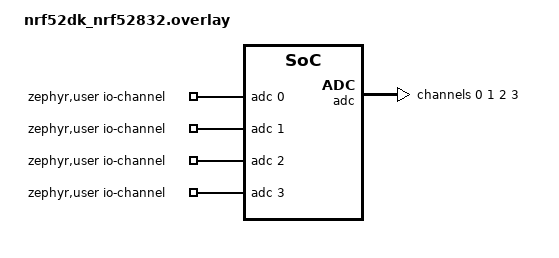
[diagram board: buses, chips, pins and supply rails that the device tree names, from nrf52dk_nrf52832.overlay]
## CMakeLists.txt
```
# SPDX-License-Identifier: Apache-2.0

cmake_minimum_required(VERSION 3.20.0)
find_package(Zephyr REQUIRED HINTS $ENV{ZEPHYR_BASE})
project(ADC_BLE_TEST_FINAL)

target_sources(app PRIVATE
  src/main.c
  src/cts.c
)
```

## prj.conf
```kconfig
# Increased stack due to settings API usage
CONFIG_SYSTEM_WORKQUEUE_STACK_SIZE=2048

CONFIG_BT=y
CONFIG_BT_DEBUG_LOG=y
CONFIG_BT_SMP=y
CONFIG_BT_SIGNING=y
CONFIG_BT_PERIPHERAL=y
CONFIG_BT_DIS=y
CONFIG_BT_ATT_PREPARE_COUNT=5
CONFIG_BT_BAS=n
CONFIG_BT_HRS=n
CONFIG_BT_IAS=y
CONFIG_BT_PRIVACY=n
CONFIG_BT_DEVICE_NAME="Zephyr ADC"
CONFIG_BT_DEVICE_APPEARANCE=833
CONFIG_BT_DEVICE_NAME_DYNAMIC=y
CONFIG_BT_DEVICE_NAME_MAX=65

CONFIG_BT_KEYS_OVERWRITE_OLDEST=y
CONFIG_BT_SETTINGS=y
CONFIG_FLASH=y
CONFIG_FLASH_PAGE_LAYOUT=y
CONFIG_FLASH_MAP=y
CONFIG_NVS=y
CONFIG_SETTINGS=y

# ADC Codes Configuration
CONFIG_ADC=y

# Trying the increase the main stack size
CONFIG_MAIN_STACK_SIZE=2048
```

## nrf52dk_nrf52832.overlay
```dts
/*
 * SPDX-License-Identifier: Apache-2.0
 *
 * Copyright (c) 2022 Nordic Semiconductor ASA
 */


/ {
	zephyr,user {
		io-channels = <&adc 0>, <&adc 1>, <&adc 2>, <&adc 3>;
	};
};

&adc {
	#address-cells = <1>;
	#size-cells = <0>;

	channel@0 {
		reg = <0>;
		zephyr,gain = "ADC_GAIN_1";
		zephyr,reference = "ADC_REF_VDD_1_4";
        zephyr,vref-mv = <5000>;
		zephyr,acquisition-time = <ADC_ACQ_TIME_DEFAULT>;
		zephyr,input-positive = <NRF_SAADC_AIN4>; /* P0.28 */
		zephyr,resolution = <12>;
	};

	channel@1 {
		reg = <1>;
		zephyr,gain = "ADC_GAIN_1";
		zephyr,reference = "ADC_REF_VDD_1_4";
        zephyr,vref-mv = <5000>;
		zephyr,acquisition-time = <ADC_ACQ_TIME_DEFAULT>;
		zephyr,input-positive = <NRF_SAADC_AIN5>; /* P0.29 */
		zephyr,resolution = <12>;
	};

	channel@2 {
		reg = <2>;
		zephyr,gain = "ADC_GAIN_1";
		zephyr,reference = "ADC_REF_VDD_1_4";
        zephyr,vref-mv = <5000>;
		zephyr,acquisition-time = <ADC_ACQ_TIME_DEFAULT>;
		zephyr,input-positive = <NRF_SAADC_AIN6>; /* P0.30 */
		zephyr,resolution = <12>;
	};

	channel@3 {
		reg = <3>;
		zephyr,gain = "ADC_GAIN_1";
		zephyr,reference = "ADC_REF_VDD_1_4";
        zephyr,vref-mv = <5000>;
		zephyr,acquisition-time = <ADC_ACQ_TIME_DEFAULT>;
		zephyr,input-positive = <NRF_SAADC_AIN7>; /* P0.31 */
		zephyr,resolution = <12>;
	};
};
```

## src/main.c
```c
/* main.c - Application main entry point */

/*
 * Copyright (c) 2015-2016 Intel Corporation
 *
 * SPDX-License-Identifier: Apache-2.0
 */

#include <zephyr/types.h>
#include <stddef.h>
#include <string.h>
#include <errno.h>
#include <zephyr/sys/printk.h>
#include <zephyr/sys/byteorder.h>
#include <zephyr/kernel.h>

#include <zephyr/settings/settings.h>

#include <zephyr/bluetooth/bluetooth.h>
#include <zephyr/bluetooth/hci.h>
#include <zephyr/bluetooth/conn.h>
#include <zephyr/bluetooth/uuid.h>
#include <zephyr/bluetooth/gatt.h>
#include <zephyr/bluetooth/services/bas.h>
#include <zephyr/bluetooth/services/hrs.h>
#include <zephyr/bluetooth/services/ias.h>

/* Including additional packages from ADC codes */
#include <inttypes.h>
#include <stdint.h>
#include <zephyr/device.h>
#include <zephyr/devicetree.h>
#include <zephyr/drivers/adc.h>
#include <zephyr/sys/util.h>

/* ADC Initialization Codes */
#if !DT_NODE_EXISTS(DT_PATH(zephyr_user)) || \
	!DT_NODE_HAS_PROP(DT_PATH(zephyr_user), io_channels)
#error "No suitable devicetree overlay specified"
#endif

#define DT_SPEC_AND_COMMA(node_id, prop, idx) \
	ADC_DT_SPEC_GET_BY_IDX(node_id, idx),

/* Data of ADC io-channels specified in devicetree. */
static const struct adc_dt_spec adc_channels[] = {
	DT_FOREACH_PROP_ELEM(DT_PATH(zephyr_user), io_channels,
			     DT_SPEC_AND_COMMA)
};
/* END of ADC Initialization Codes */

/* Change the given UUID to the provided board */
/* Custom Service Variables */
/* From Celia's code, converts the string format to the BT_UUID_128_ENCODE() format */

/* Previously successful version of the characteristic value */
/* Based on the print out of Celia's code */
/* No much difference, will need to modify later */
#define BT_UUID_CUSTOM_SERVICE_VAL \
	BT_UUID_128_ENCODE(0xDE495ED4, 0xC63C, 0xE850, 0x4B9B, 0xAF8F1053D8D6)

static struct bt_uuid_128 vnd_uuid = BT_UUID_INIT_128(
	BT_UUID_CUSTOM_SERVICE_VAL);

/* Use the read characteristic as encrypted characteristic */
static struct bt_uuid_128 vnd_enc_uuid = BT_UUID_INIT_128(
	BT_UUID_128_ENCODE(0x6E400002, 0xB5A3, 0xF393, 0xE0A9, 0xE50E24DCCA9E));

/* Use the write characteristic as authenticated characteristic */
static struct bt_uuid_128 vnd_auth_uuid = BT_UUID_INIT_128(
	BT_UUID_128_ENCODE(0x6E400003, 0xB5A3, 0xF393, 0xE0A9, 0xE50E24DCCA9E));

/* Just a reverse version for the purpose of debugging */
// static struct bt_uuid_128 vnd_auth_uuid = BT_UUID_INIT_128(
// 	BT_UUID_128_ENCODE(0x6E400002, 0xB5A3, 0xF393, 0xE0A9, 0xE50E24DCCA9E));

// static struct bt_uuid_128 vnd_enc_uuid = BT_UUID_INIT_128(
// 	BT_UUID_128_ENCODE(0x6E400003, 0xB5A3, 0xF393, 0xE0A9, 0xE50E24DCCA9E))

#define VND_MAX_LEN 20

/* Is the problem static? */
static uint8_t vnd_value[VND_MAX_LEN + 1] = {"0000 0000 0000 0001"};
static uint8_t vnd_auth_value[VND_MAX_LEN + 1] = {"0000 0000 0000 0002"};

/* The handler of the reading, the buffer contains the data to write, and len contains the length of the data */
static ssize_t read_vnd(struct bt_conn *conn, const struct bt_gatt_attr *attr,
			void *buf, uint16_t len, uint16_t offset)
{
	const char *value = attr->user_data;

	return bt_gatt_attr_read(conn, attr, buf, len, offset, value,
				 strlen(value));
}

/* The handler of the writing, the buffer contains the data to write, and len contains the length of the data */
/* The offset helps handle and align the written data properly within the value */
static ssize_t write_vnd(struct bt_conn *conn, const struct bt_gatt_attr *attr,
			 const void *buf, uint16_t len, uint16_t offset,
			 uint8_t flags)
{
	uint8_t *value = attr->user_data;

	if (offset + len > VND_MAX_LEN) {
		return BT_GATT_ERR(BT_ATT_ERR_INVALID_OFFSET);
	}

	memcpy(value + offset, buf, len);
	value[offset + len] = 0;

	return len;
}

static uint8_t simulate_vnd;


/* Important for paring. Withouth this, struct bleak client cannot connect to the board */
static void vnd_ccc_cfg_changed(const struct bt_gatt_attr *attr, uint16_t value)
{
	simulate_vnd = (value == BT_GATT_CCC_INDICATE) ? 1 : 0;
}

/* Vendor Primary Service Declaration */
BT_GATT_SERVICE_DEFINE(vnd_svc,
	BT_GATT_PRIMARY_SERVICE(&vnd_uuid),
	/* Specify the functionality of the read characteristic */
	/* The last three parameters speicfy the corresponding callback functions for: read, write, and a pointer to the data that the characteristic represents. */
	/* Therefore, for reading characteristic, just use read_vnd, and write just use the write_vnd */
	BT_GATT_CHARACTERISTIC(&vnd_enc_uuid.uuid,
			       BT_GATT_CHRC_WRITE |
			       BT_GATT_CHRC_INDICATE |
				   BT_GATT_CHRC_NOTIFY,
			       BT_GATT_PERM_WRITE |
			       BT_GATT_PERM_WRITE_ENCRYPT,
			       NULL, write_vnd, vnd_value),

	BT_GATT_CCC(vnd_ccc_cfg_changed,
		    BT_GATT_PERM_READ | BT_GATT_PERM_WRITE_ENCRYPT),

	/* Specify the funcionality of the write characteristic */
	/* Do the same as above */
	/* Use the same test message of vnd_value defined as above */
	BT_GATT_CHARACTERISTIC(&vnd_auth_uuid.uuid,
			       BT_GATT_CHRC_READ | 
				   BT_GATT_CHRC_INDICATE |
				   BT_GATT_CHRC_NOTIFY,
			       BT_GATT_PERM_READ_AUTHEN |
			       BT_GATT_PERM_READ,
			       read_vnd, NULL, vnd_value)
);

/* Bluetooth related parameters */
static const struct bt_data ad[] = {
	BT_DATA_BYTES(BT_DATA_FLAGS, (BT_LE_AD_GENERAL | BT_LE_AD_NO_BREDR)),
	BT_DATA_BYTES(BT_DATA_UUID16_ALL,
		      BT_UUID_16_ENCODE(BT_UUID_HRS_VAL),
		      BT_UUID_16_ENCODE(BT_UUID_BAS_VAL),
		      BT_UUID_16_ENCODE(BT_UUID_CTS_VAL)),
	BT_DATA_BYTES(BT_DATA_UUID128_ALL, BT_UUID_CUSTOM_SERVICE_VAL),
};

/* Updated when connected to the bluetooth */
void mtu_updated(struct bt_conn *conn, uint16_t tx, uint16_t rx)
{
	printk("Updated MTU: TX: %d RX: %d bytes\n", tx, rx);
}

/* Registers a set of callback handlers for different GATT events */
static struct bt_gatt_cb gatt_callbacks = {
	/* Called when the ATT MTU is updated during connection */
	.att_mtu_updated = mtu_updated

};

/* Will print to the serial monitor for connection, can be further trimmed down with UART turning off */
static void connected(struct bt_conn *conn, uint8_t err)
{
	if (err) {
		printk("Connection failed (err 0x%02x)\n", err);
	} else {
		printk("Connected\n");
	}
}

/* Same as the connected struct above */
static void disconnected(struct bt_conn *conn, uint8_t reason)
{
	printk("Disconnected (reason 0x%02x)\n", reason);
}

/* Indication of the connection status */
BT_CONN_CB_DEFINE(conn_callbacks) = {
	.connected = connected,
	.disconnected = disconnected,
};

static void bt_ready(void)
{
	int err;


	if (IS_ENABLED(CONFIG_SETTINGS)) {
		settings_load();
	}

	/* Starts connectable BLE advertising using the given advertising data buffer. The advertising data would typically contain something like the device name */
	/* In this general example, no scan response data is provided */
	/* Allow for further customization: 
		- Choosing advertising type 
		- Setting advertising and scan response data 
		- Configuring advertising intervals/duration
		- Restarting advertising as needed 
		- Registering an advertising stop callback */
	err = bt_le_adv_start(BT_LE_ADV_CONN_NAME, ad, ARRAY_SIZE(ad), NULL, 0);
	if (err) {
		printk("Advertising failed to start (err %d)\n", err);
		return;
	}

	printk("Advertising successfully started\n");
}

int main(void)
{
	struct bt_gatt_attr *vnd_ind_attr;
	char str[BT_UUID_STR_LEN];
	int err;

	uint32_t count = 0;
	uint16_t buf;
	struct adc_sequence sequence = {
		.buffer = &buf,
		/* buffer size in bytes, not number of samples */
		.buffer_size = sizeof(buf),
	};

	/* Configure channels individually prior to sampling. */
	for (size_t i = 0U; i < ARRAY_SIZE(adc_channels); i++) {
		if (!device_is_ready(adc_channels[i].dev)) {
			printk("ADC controller device %s not ready\n", adc_channels[i].dev->name);
			return 0;
		}

		err = adc_channel_setup_dt(&adc_channels[i]);
		if (err < 0) {
			printk("Could not setup channel #%d (%d)\n", i, err);
			return 0;
		}
	}

	/* Initializes the buetooth stack */
	err = bt_enable(NULL);
	if (err) {
		printk("Bluetooth init failed (err %d)\n", err);
		return 0;
	}

	printk("Bluetooth init successful (err %d)\n", err);

	/* Makes the app BLE-ready once Bluetooth is enabled */
	bt_ready();

	/* Registers a set of callback functions for GATT events */
	bt_gatt_cb_register(&gatt_callbacks);

	/* Find the attribute for the vnd_enc service's characteristic UUID */
	/* In this case, use the attribute of the specific characteristic that was updated, not the service's general UUID */
	/* Use the write characteristic here for testing */
	vnd_ind_attr = bt_gatt_find_by_uuid(vnd_svc.attrs, vnd_svc.attr_count,
					    &vnd_enc_uuid.uuid);

	/* Converts the UUID to a string for printing */
	bt_uuid_to_str(&vnd_enc_uuid.uuid, str, sizeof(str));
	printk("Indicate VND attr %p (UUID %s)\n", vnd_ind_attr, str);

	/* Find the attribute of reading from the corresponding UUID */
	// read_attr = bt_gatt_find_by_uuid(vnd_svc.attrs, vnd_svc.attr_count,
	// 				    &vnd_auth_uuid.uuid);

	int32_t adc_final_reading[ARRAY_SIZE(adc_channels)];

	/* Implement notification. At the moment there is no suitable way
	 * of starting delayed work so we do it here
	 */

	// NRF_UART0->ENABLE = 0;

	while (1) {
		k_sleep(K_SECONDS(1));


		for (size_t i = 0U; i < ARRAY_SIZE(adc_channels); i++) {

			int32_t val_mv;


			(void)adc_sequence_init_dt(&adc_channels[i], &sequence);

			err = adc_read(adc_channels[i].dev, &sequence);


			/*
			 * If using differential mode, the 16 bit value
			 * in the ADC sample buffer should be a signed 2's
			 * complement value.
			 */
			// if (adc_channels[i].channel_cfg.differential) {
			// 	val_mv = (int32_t)((int16_t)buf);
			// } else {
			// 	val_mv = (int32_t)buf;
			// }

			val_mv = (int32_t)buf;
	
			err = adc_raw_to_millivolts_dt(&adc_channels[i],
						       &val_mv);

			/* Store the ADC result in each of the channel */
			adc_final_reading[i] = val_mv;
			
			
		}

		/* Update the value of the characteristic */
		sprintf(vnd_value, "%04d %04d %04d %04d", adc_final_reading[0], adc_final_reading[1], adc_final_reading[2], adc_final_reading[3]);
		
		/* Notify connected devices of the change */
		bt_gatt_notify(NULL, &vnd_ind_attr->uuid, &vnd_value, strlen(vnd_value));

	}
	return 0;
}
```
